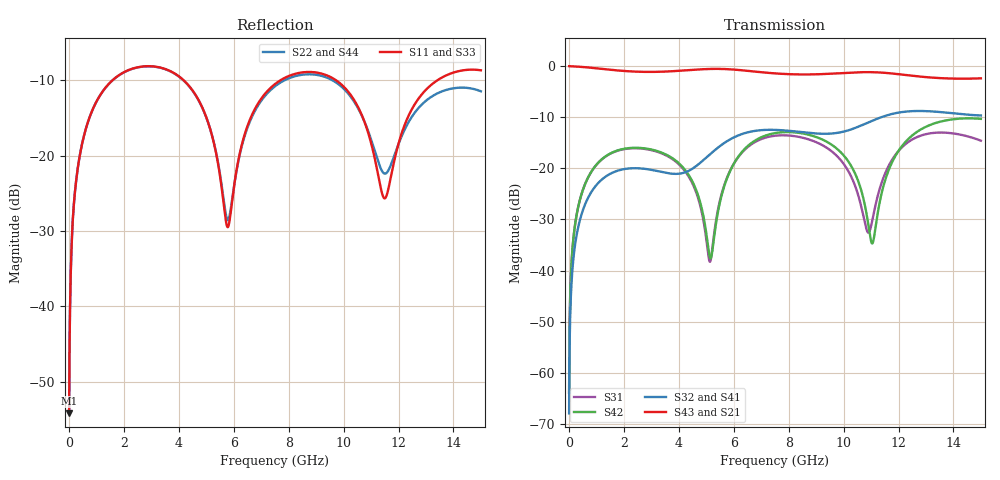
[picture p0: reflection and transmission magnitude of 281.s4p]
! Created with skrf 1.8.0 (http://scikit-rf.org).
# GHz S RI R 50.0
!freq ReS11 ImS11 ReS12 ImS12 ReS13 ImS13
! ReS14 ImS14
! ReS21 ImS21 ReS22 ImS22 ReS23 ImS23
! ReS24 ImS24
! ReS31 ImS31 ReS32 ImS32 ReS33 ImS33
! ReS34 ImS34
! ReS41 ImS41 ReS42 ImS42 ReS43 ImS43
! ReS44 ImS44
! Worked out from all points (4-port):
!   2499 points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, 5 MHz to 15 GHz, reference 50 ohm
!   strongest paths, dB at 5 MHz, 3.476 GHz, 7.19 GHz, 11.1 GHz, 15 GHz:
!     S43: 0.0, -1.1, -1.3, -1.2, -2.4
!     S21: 0.0, -1.1, -1.3, -1.2, -2.4
!     S32: -67.9, -20.8, -12.5, -10.6, -9.7
!     S41: -67.9, -20.9, -12.5, -10.6, -9.7
!     S42: -63.9, -17.2, -13.5, -33.8, -10.3
!     S31: -63.9, -17.3, -13.9, -28.8, -14.6
!   lowest |S11| = -54.2 dB at 5 MHz (marker M1), VSWR 1.00, Z = 50.2 + j0.118 ohm
!   |S11| at or under -10 dB: start of sweep to 1.577 GHz; 4.182 GHz to 7.691 GHz (3.509 GHz wide, 59.1 % of centre); 9.733 GHz to 13.41 GHz (3.673 GHz wide, 31.7 % of centre)
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0.005  0.00155 0.00118  0.9984 -0.00303  7.84e-05 0.000634  -7.61e-05 -0.000394
       0.9984 -0.00303  0.00155 0.00118  -7.61e-05 -0.000394  7.84e-05 0.000634
       7.84e-05 0.000634  -7.61e-05 -0.000394  0.00155 0.00118  0.9984 -0.00303
       -7.61e-05 -0.000394  7.84e-05 0.000634  0.9984 -0.00303  0.00155 0.00118
0.3126303  0.022 0.0779  0.97 -0.1886  0.0101 0.0378  -0.0085 -0.0233
           0.97 -0.1886  0.022 0.0779  -0.0085 -0.0233  0.0103 0.0378
           0.0101 0.0378  -0.0085 -0.0233  0.022 0.0779  0.97 -0.1886
           -0.0085 -0.0233  0.0103 0.0378  0.97 -0.1886  0.022 0.0779
1.519383  0.2476 0.185  0.5972 -0.6998  0.1204 0.0707  -0.0877 -0.0142
          0.5972 -0.6998  0.2466 0.1856  -0.0878 -0.0141  0.123 0.0676
          0.1204 0.0707  -0.0878 -0.0141  0.2474 0.185  0.5972 -0.6998
          -0.0877 -0.0142  0.123 0.0676  0.5972 -0.6998  0.2466 0.1855
5.602334  0.0345 -0.0407  -0.9244 -0.1531  -0.0112 0.0608  -0.0268 0.1709
          -0.9244 -0.1531  0.0386 -0.0408  -0.0253 0.1711  -0.00614 0.0598
          -0.0112 0.0608  -0.0253 0.1711  0.0348 -0.0387  -0.9246 -0.1528
          -0.0268 0.1709  -0.00614 0.0598  -0.9246 -0.1528  0.0376 -0.0389
9.07253  0.3488 -0.0682  0.0424 0.8312  0.1633 -0.0678  0.2021 -0.0816
         0.0424 0.8312  0.3393 -0.0509  0.2016 -0.0846  0.1654 -0.111
         0.1633 -0.0678  0.2016 -0.0846  0.3478 -0.0686  0.0408 0.8315
         0.2021 -0.0816  0.1654 -0.111  0.0408 0.8315  0.3397 -0.049
11.0421  0.0707 -0.0891  0.7823 0.3841  -0.0271 0.0144  0.1241 -0.2641
         0.7823 0.3841  0.0921 -0.0798  0.1201 -0.2661  -0.0183 0.00177
         -0.0271 0.0144  0.1201 -0.2661  0.0673 -0.0876  0.7817 0.3862
         0.1241 -0.2641  -0.0183 0.00177  0.7817 0.3862  0.0937 -0.0757
15  0.3537 -0.106  -0.000733 -0.7592  0.1861 -0.011  -0.317 0.0782
    -0.000733 -0.7592  0.2624 -0.0536  -0.3173 0.0868  0.188 -0.2397
    0.1861 -0.011  -0.3173 0.0868  0.3536 -0.1002  0.00621 -0.759
    -0.317 0.0782  0.188 -0.2397  0.00621 -0.759  0.2663 -0.056
